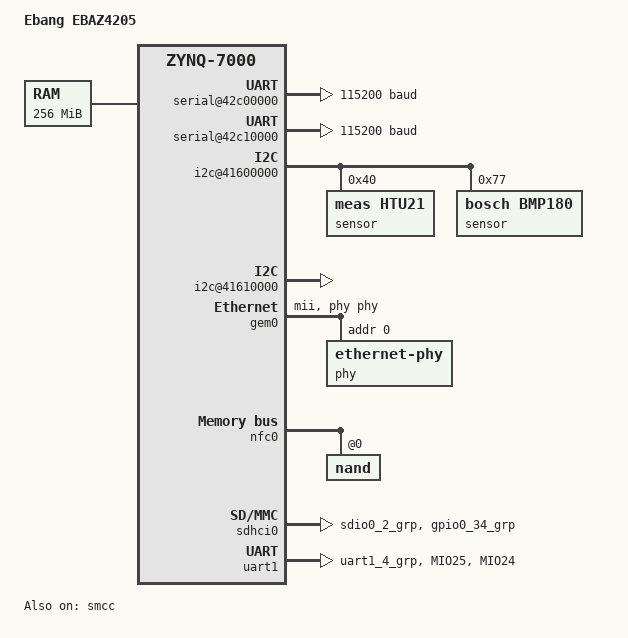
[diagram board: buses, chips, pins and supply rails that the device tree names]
// SPDX-License-Identifier: GPL-2.0
/*
 * Copyright (C) 2021 Michael Walle <michael@walle.cc>
 */
/dts-v1/;
/include/ "zynq-7000.dtsi"

#include "dt-bindings/clock/xlnx-zynq-clk.h"

/ {
	model = "Ebang EBAZ4205";
	compatible = "ebang,ebaz4205", "xlnx,zynq-7000";

	aliases {
		ethernet0 = &gem0;
		serial0 = &uart1;
	};

	memory@0 {
		device_type = "memory";
		reg = <0x0 0x10000000>;
	};

	chosen {
		stdout-path = "serial0:115200n8";
	};
};

&amba {
	// GIC interrupts 29-32
	// cells: 0=spi/1=ppi    intno    1=low-to-high edge triggered  4=active high level-sensitive

	serial@42c00000 {
		compatible = "xlnx,xps-uartlite-1.00.a";
		reg = <0x42c00000 0x10000>;
		clocks = <&clkc CLK_FCLK0>;
		clock-names = "s_axi_aclk";
		interrupt-parent = <&intc>;
		interrupts = <0 30 1>;
		port-number = <0>;
		current-speed = <115200>;
		xlnx,data-bits = <8>;
		xlnx,use-parity = <0>;
	};

	serial@42c10000 {
		compatible = "xlnx,xps-uartlite-1.00.a";
		reg = <0x42c10000 0x10000>;
		clocks = <&clkc CLK_FCLK0>;
		clock-names = "s_axi_aclk";
		interrupt-parent = <&intc>;
		interrupts = <0 32 1>;
		port-number = <1>;
		current-speed = <115200>;
		xlnx,data-bits = <8>;
		xlnx,use-parity = <0>;
	};

	i2c@41600000 {
		compatible = "xlnx,axi-iic-2.1";
		clocks = <&clkc CLK_FCLK0>;
		interrupt-parent = <&intc>;
		interrupts = <0 29 4>;
		reg = <0x41600000 0x10000>;
		#size-cells = <0>;
		#address-cells = <1>;

		sensor@40 {
			reg = <0x40>;
			compatible = "meas,htu21";
		};

		sensor@77 {
			reg = <0x77>;
			compatible = "bosch,bmp180";
		};
	};

	i2c@41610000 {
		compatible = "xlnx,xps-iic-2.00.a";
		clocks = <&clkc CLK_FCLK0>;
		interrupt-parent = <&intc>;
		interrupts = <0 31 4>;
		reg = <0x41610000 0x10000>;
		#size-cells = <0>;
		#address-cells = <1>;
	};

	gpio@41200000 {
		compatible = "xlnx,xps-gpio-1.00.a";
		reg = <0x41200000 0x10000>;
		clocks = <&clkc CLK_FCLK0>;
		#gpio-cells = <2>;
		gpio-controller;
		xlnx,all-inputs = <0x0>;
		xlnx,all-outputs = <0x0>;
		xlnx,dout-default = <0x0>;
		xlnx,gpio-width = <4>;
		xlnx,tri-default = <0xFFFFFFFF>;
	};
};

&clkc {
	ps-clk-frequency = <33333333>;
	fclk-enable = <8>;
};

&gem0 {
	status = "okay";
	phy-mode = "mii";
	phy-handle = <&phy>;

	/* PHY clock */
	assigned-clocks = <&clkc 18>;
	assigned-clock-rates = <25000000>;

	phy: ethernet-phy@0 {
		reg = <0>;
	};
};

&gpio0 {
	pinctrl-names = "default";
	pinctrl-0 = <&pinctrl_gpio0_default>;
};

&nfc0 {
	status = "okay";

	nand@0 {
		reg = <0>;
	};
};

&pinctrl0 {
	pinctrl_gpio0_default: gpio0-default {
		mux {
			groups = "gpio0_20_grp", "gpio0_32_grp";
			function = "gpio0";
		};

		conf {
			groups = "gpio0_20_grp", "gpio0_32_grp";
			io-standard = <3>;
			slew-rate = <0>;
		};

		conf-pull-up {
			pins = "MIO20", "MIO32";
			bias-disable;
		};
	};

	pinctrl_sdhci0_default: sdhci0-default {
		mux {
			groups = "sdio0_2_grp";
			function = "sdio0";
		};

		conf {
			groups = "sdio0_2_grp";
			io-standard = <3>;
			slew-rate = <0>;
			bias-disable;
		};

		mux-cd {
			groups = "gpio0_34_grp";
			function = "sdio0_cd";
		};

		conf-cd {
			groups = "gpio0_34_grp";
			io-standard = <3>;
			slew-rate = <0>;
			bias-high-impedance;
			bias-pull-up;
		};
	};

	pinctrl_uart1_default: uart1-default {
		mux {
			groups = "uart1_4_grp";
			function = "uart1";
		};

		conf {
			groups = "uart1_4_grp";
			io-standard = <3>;
			slew-rate = <0>;
		};

		conf-rx {
			pins = "MIO25";
			bias-high-impedance;
		};

		conf-tx {
			pins = "MIO24";
			bias-disable;
		};
	};
};

&smcc {
	status = "okay";
};

&sdhci0 {
	status = "okay";
	disable-wp;
	pinctrl-names = "default";
	pinctrl-0 = <&pinctrl_sdhci0_default>;
};

&uart1 {
	status = "okay";
	pinctrl-names = "default";
	pinctrl-0 = <&pinctrl_uart1_default>;
};
